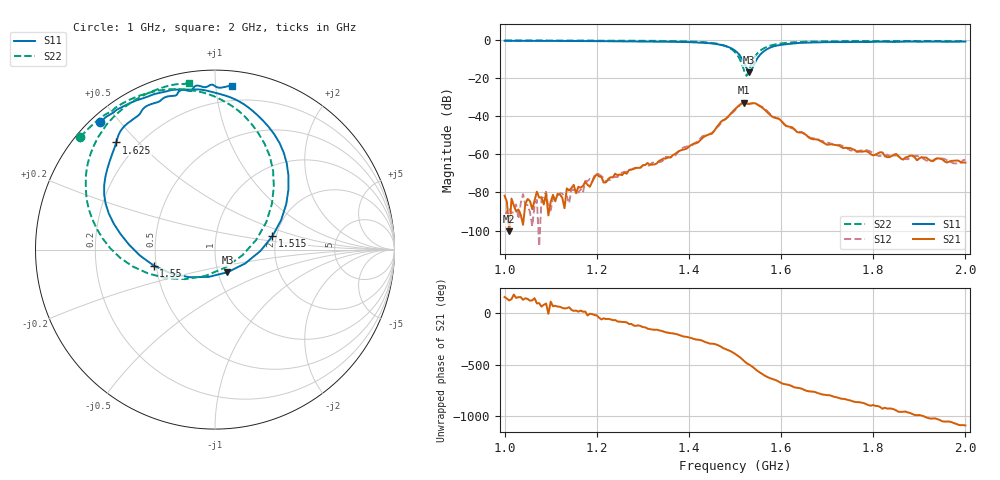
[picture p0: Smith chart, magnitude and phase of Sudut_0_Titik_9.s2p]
# Hz S RI R 50
! CMT, C1220, 16058040, 17.2.0/1
! Date: 14/08/2018 11:54:02
! Data: Format (Calibration Info)
! Freq  S11: Re/Im (F2)  S21: Re/Im (F2)  S12: Re/Im (F2)  S22: Re/Im (F2)
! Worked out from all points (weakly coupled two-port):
!   201 points, 1 GHz to 2 GHz, reference 50 ohm
!   highest |S21| = -32.81 dB at 1.52 GHz (marker M1); lowest = -100.4 dB at 1.01 GHz (marker M2)
!   lowest |S11| = -16.8 dB at 1.53 GHz (marker M3), VSWR 1.34, Z = 55.5 - j14.3 ohm
!   |S11| at or under -10 dB: 1.516 GHz to 1.548 GHz (31.87 MHz wide, 2.08 % of centre)
!   |S22| runs from -18.8 to -0.2 dB; largest |S21 - S12| = 0.001
!   S11 on the Smith chart (normalised r, x): 1 GHz: 0.03, +0.44; 1.515 GHz: 1.91, +0.32; 1.55 GHz: 0.48, -0.10; 1.625 GHz: 0.12, +0.43; 2 GHz: 0.10, +1.10
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1e9  -0.6419 0.7092  -7.62e-05 3.15e-05  5.41e-06 2.18e-05  -0.7501 0.6267
1.01e9  -0.6289 0.7187  -5.39e-06 7.87e-06  -2.37e-05 3.03e-05  -0.743 0.6346
1.13e9  -0.5094 0.7987  2.64e-05 2.83e-05  3.86e-05 6.39e-05  -0.6514 0.723
1.15e9  -0.4916 0.8082  0.000145 6.27e-05  0.000104 4.81e-05  -0.6327 0.7375
1.155e9  -0.4881 0.8101  8.51e-05 4.25e-05  8.34e-05 9.1e-05  -0.6278 0.7413
1.17e9  -0.4701 0.8182  0.000142 3.92e-05  7.78e-05 6.12e-05  -0.6125 0.7521
1.175e9  -0.4619 0.8216  0.000182 5.28e-05  0.000201 -3.97e-06  -0.6068 0.7552
1.185e9  -0.4454 0.8284  0.000141 -1.09e-05  0.000226 1.91e-05  -0.5951 0.7614
1.2e9  -0.4273 0.8342  0.000283 -0.000108  0.000259 -0.000177  -0.5784 0.7654
1.22e9  -0.4079 0.8409  0.000103 -0.000153  9.45e-05 -0.000163  -0.5674 0.7789
1.335e9  -0.2129 0.8914  -0.000649 -0.000169  -0.000618 -8.89e-05  -0.3958 0.8658
1.45e9  0.1832 0.7942  0.00149 0.00318  0.00175 0.00315  0.0272 0.839
1.5e9  0.4094 0.3368  0.0129 -0.00825  0.0121 -0.00779  0.3279 0.3502
1.515e9  0.3201 0.0749  0.00258 -0.0217  0.00311 -0.0217  0.2291 0.0535
1.52e9  0.2529 -0.00771  -0.00541 -0.0222  -0.00517 -0.0225  0.1514 -0.0329
1.53e9  0.0694 -0.1263  -0.015 -0.0147  -0.0151 -0.0148  -0.0533 -0.1464
1.55e9  -0.341 -0.0894  -0.0183 0.00755  -0.0186 0.00688  -0.4581 -0.0941
1.58e9  -0.6095 0.2567  0.000861 0.00989  0.00134 0.0102  -0.7011 0.2185
1.625e9  -0.5501 0.597  0.00497 0.000922  0.00473 0.000974  -0.6967 0.5222
1.67e9  -0.438 0.7392  0.00191 -0.00161  0.00202 -0.00171  -0.6205 0.6735
1.835e9  -0.1438 0.8837  -0.000774 0.000346  -0.000802 0.000446  -0.3704 0.8731
2e9  0.0941 0.9096  0.000606 -7.99e-05  0.000703 -0.000103  -0.1471 0.9308
